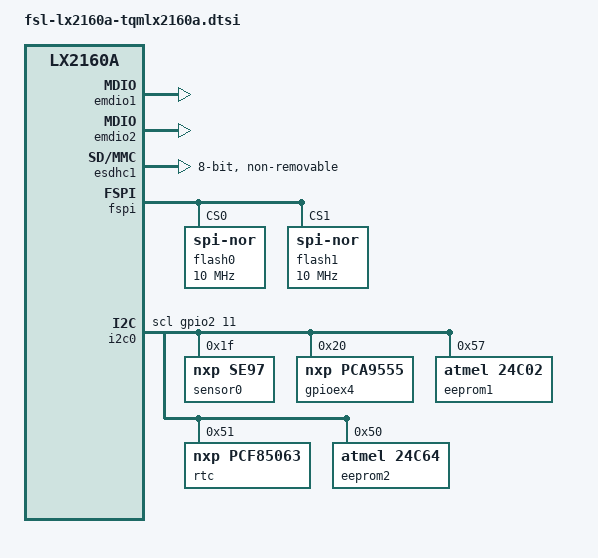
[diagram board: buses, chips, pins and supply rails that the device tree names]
// SPDX-License-Identifier: GPL-2.0-or-later OR MIT
/*
 * Copyright 2020-2021 TQ-Systems GmbH
 * Author: Gregor Herburger <gregor.herburger@tq-group.com>
 */

#include "fsl-lx2160a.dtsi"

/ {
	compatible = "tq,tqmlx2160a", "fsl,lx2160a";
};

&emdio1 {
	status = "okay";
};

&emdio2 {
	status = "okay";
};

&esdhc1 {
	status = "okay";
	bus-width = <8>;
	no-sd;
	no-sdio;
	non-removable;
	mmc-hs200-1_8v;
};

&fspi {
	bus-num = <0>;
	status = "okay";

	flash0: flash@0 {
		#address-cells = <1>;
		#size-cells = <1>;
		compatible = "jedec,spi-nor";
		spi-max-frequency = <10000000>;
		spi-rx-bus-width = <1>;
		spi-tx-bus-width = <1>;
		reg = <0>;

		partitions {
			compatible = "fixed-partitions";
			#address-cells = <1>;
			#size-cells = <1>;
		};
	};

	flash1: flash@1 {
		#address-cells = <1>;
		#size-cells = <1>;
		compatible = "jedec,spi-nor";
		spi-max-frequency = <10000000>;
		spi-rx-bus-width = <1>;
		spi-tx-bus-width = <1>;
		reg = <1>;
	};
};

&i2c0 {
	status = "okay";

	scl-gpios = <&gpio2 11 GPIO_ACTIVE_HIGH>;

	sensor0: temp-sensor@1f {
		compatible = "nxp,se97", "jedec,jc-42.4-temp";
		reg = <0x1F>;
		status = "okay";
	};

	gpioex4: gpio@20 {
		compatible = "nxp,pca9555";
		reg = <0x20>;
		#gpio-cells = <2>;
		gpio-controller;
	};

	eeprom1: eeprom@57 {
		compatible = "atmel,24c02";
		reg = <0x57>;
		pagesize = <16>;
		status = "okay";
	};

	rtc: rtc@51 {
		compatible = "nxp,pcf85063";
		quartz-load-femtofarads = <12500>;
		reg = <0x51>;
		status = "okay";
	};

	/* regular EEPROM */
	eeprom2: eeprom@50 {
		compatible = "atmel,24c64";
		reg = <0x50>;
		status = "okay";
	};
};
